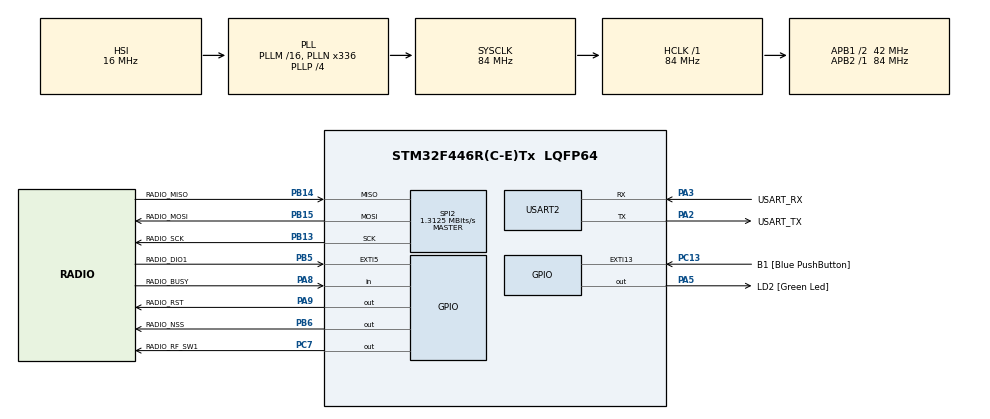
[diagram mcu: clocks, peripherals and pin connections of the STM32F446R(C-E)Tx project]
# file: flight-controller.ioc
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Mcu.Family=STM32F4
Mcu.Name=STM32F446R(C-E)Tx
Mcu.Package=LQFP64
NVIC.EXTI9_5_IRQn=true\:0\:0\:false\:false\:true\:true\:true\:true
NVIC.PriorityGroup=NVIC_PRIORITYGROUP_0
PA13.GPIO_Label=TMS
PA13.Signal=SYS_JTMS-SWDIO
PA14.GPIO_Label=TCK
PA14.Signal=SYS_JTCK-SWCLK
PA2.GPIO_Label=USART_TX
PA2.Mode=Asynchronous
PA2.Signal=USART2_TX
PA3.GPIO_Label=USART_RX
PA3.Mode=Asynchronous
PA3.Signal=USART2_RX
PA5.GPIO_Label=LD2 [Green Led]
PA5.Signal=GPIO_Output
PA8.GPIO_Label=RADIO_BUSY
PA8.GPIO_PuPd=GPIO_PULLUP
PA8.Signal=GPIO_Input
PA9.GPIO_Label=RADIO_RST
PA9.PinState=GPIO_PIN_SET
PA9.Signal=GPIO_Output
PB13.GPIO_Label=RADIO_SCK
PB13.Mode=Full_Duplex_Master
PB13.Signal=SPI2_SCK
PB14.GPIO_Label=RADIO_MISO
PB14.Mode=Full_Duplex_Master
PB14.Signal=SPI2_MISO
PB15.GPIO_Label=RADIO_MOSI
PB15.Mode=Full_Duplex_Master
PB15.Signal=SPI2_MOSI
PB3.GPIO_Label=SWO
PB3.Signal=SYS_JTDO-SWO
PB5.GPIO_Label=RADIO_DIO1
PB5.GPIO_PuPd=GPIO_PULLDOWN
PB5.Signal=GPXTI5
PB6.GPIO_Label=RADIO_NSS
PB6.PinState=GPIO_PIN_SET
PB6.Signal=GPIO_Output
PC13.GPIO_Label=B1 [Blue PushButton]
PC13.GPIO_ModeDefaultEXTI=GPIO_MODE_IT_FALLING
PC13.Signal=GPXTI13
PC14-OSC32_IN.Signal=RCC_OSC32_IN
PC15-OSC32_OUT.Signal=RCC_OSC32_OUT
PC7.GPIO_Label=RADIO_RF_SW1
PC7.Signal=GPIO_Output
PH0-OSC_IN.Signal=RCC_OSC_IN
PH1-OSC_OUT.Signal=RCC_OSC_OUT
ProjectManager.HeapSize=0x200
ProjectManager.StackSize=0x400
ProjectManager.TargetToolchain=CMake
RCC.AHBFreq_Value=84000000
RCC.APB1CLKDivider=RCC_HCLK_DIV2
RCC.APB1Freq_Value=42000000
RCC.APB1TimFreq_Value=84000000
RCC.APB2Freq_Value=84000000
RCC.APB2TimFreq_Value=84000000
RCC.CortexFreq_Value=84000000
RCC.FLatency-AdvancedSettings=FLASH_LATENCY_2
RCC.HCLKFreq_Value=84000000
RCC.HSE_VALUE=8000000
RCC.HSI_VALUE=16000000
RCC.LSE_VALUE=32768
RCC.PLLN=336
RCC.PLLP=RCC_PLLP_DIV4
RCC.SYSCLKFreq_VALUE=84000000
RCC.SYSCLKSource=RCC_SYSCLKSOURCE_PLLCLK
RCC.USBFreq_Value=168000000
RCC.VCOOutputFreq_Value=336000000
SPI2.BaudRatePrescaler=SPI_BAUDRATEPRESCALER_32
SPI2.CalculateBaudRate=1.3125 MBits/s
SPI2.Direction=SPI_DIRECTION_2LINES
SPI2.Mode=SPI_MODE_MASTER
SPI2.VirtualType=VM_MASTER
USART2.VirtualMode=VM_ASYNC
board=NUCLEO-F446RE

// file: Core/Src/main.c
/* USER CODE BEGIN Header */
/**
  ******************************************************************************
  * @file           : main.c
  * @brief          : Main program body
  ******************************************************************************
  * @attention
  *
  * Copyright (c) 2026 STMicroelectronics.
  * All rights reserved.
  *
  * This software is licensed under terms that can be found in the LICENSE file
  * in the root directory of this software component.
  * If no LICENSE file comes with this software, it is provided AS-IS.
  *
  ******************************************************************************
  */
/* USER CODE END Header */
#include "main.h"
/* USER CODE BEGIN Includes */
#include <stdio.h>
#include "radio.h"
/* USER CODE END Includes */

SPI_HandleTypeDef hspi2;

UART_HandleTypeDef huart2;

void SystemClock_Config(void);
static void MX_GPIO_Init(void);
static void MX_SPI2_Init(void);
static void MX_USART2_UART_Init(void);

/* USER CODE BEGIN 0 */
int __io_putchar(int ch)
{
    HAL_UART_Transmit(&huart2, (uint8_t *)&ch, 1, HAL_MAX_DELAY);
    return ch;
}
/* USER CODE END 0 */

int main(void)
{

  /* MCU Configuration--------------------------------------------------------*/

  /* Reset of all peripherals, Initializes the Flash interface and the Systick. */
  HAL_Init();

  /* Configure the system clock */
  SystemClock_Config();

  /* Initialize all configured peripherals */
  MX_GPIO_Init();
  MX_SPI2_Init();
  MX_USART2_UART_Init();
  /* USER CODE BEGIN 2 */
  if (radio_init() != 0)
  {
    printf("Radio init FAILED\r\n");
    return 1;
  }
  else
  {
    printf("Radio init OK\r\n");
  }
  uint32_t count = 0;
  /* USER CODE END 2 */

  /* Infinite loop */
  while (1)
  {
    /* USER CODE BEGIN 3 */
    /* TODO: Send a test packet once per loop.
     * - Build a short payload that changes each time, e.g. a counter:
     *     char msg[32];
     *     int n = snprintf(msg, sizeof msg, "hello %lu", count++);
     *   A changing payload lets a receiver tell packets apart and spot drops.
     * - Call radio_transmit((const uint8_t *)msg, n) and print OK/FAILED.
     *   Only transmit if radio_init succeeded.
     * - Airtime: ~20 bytes at SF9/125 kHz takes ~0.2 s, so once per second
     *   is ~20% of the time on air. That's fine in the US, but over the EU's
     *   1% duty-cycle limit at 868 MHz.
     * - No receiver yet? TX_DONE means the chip sent the packet, but not that
     *   it got through. To see the signal, an RTL-SDR dongle with GQRX/SDR#
     *   tuned to 915 MHz shows each packet as a burst of chirps. */
    char msg[32];
    int n = snprintf(msg, sizeof(msg), "count: %lu", count);
    count++;
    if (radio_transmit((const uint8_t *)msg, (uint8_t)n) == 0)
      printf("TX OK: %s\r\n", msg);
    else
      printf("TX FAILED\r\n");
    radio_print_status();
    HAL_Delay(1000);
  }
  /* USER CODE END 3 */
}

void SystemClock_Config(void)
{
  RCC_OscInitTypeDef RCC_OscInitStruct = {0};
  RCC_ClkInitTypeDef RCC_ClkInitStruct = {0};

  /** Configure the main internal regulator output voltage
  */
  __HAL_RCC_PWR_CLK_ENABLE();
  __HAL_PWR_VOLTAGESCALING_CONFIG(PWR_REGULATOR_VOLTAGE_SCALE3);

  /** Initializes the RCC Oscillators according to the specified parameters
  * in the RCC_OscInitTypeDef structure.
  */
  RCC_OscInitStruct.OscillatorType = RCC_OSCILLATORTYPE_HSI;
  RCC_OscInitStruct.HSIState = RCC_HSI_ON;
  RCC_OscInitStruct.HSICalibrationValue = RCC_HSICALIBRATION_DEFAULT;
  RCC_OscInitStruct.PLL.PLLState = RCC_PLL_ON;
  RCC_OscInitStruct.PLL.PLLSource = RCC_PLLSOURCE_HSI;
  RCC_OscInitStruct.PLL.PLLM = 16;
  RCC_OscInitStruct.PLL.PLLN = 336;
  RCC_OscInitStruct.PLL.PLLP = RCC_PLLP_DIV4;
  RCC_OscInitStruct.PLL.PLLQ = 2;
  RCC_OscInitStruct.PLL.PLLR = 2;
  if (HAL_RCC_OscConfig(&RCC_OscInitStruct) != HAL_OK)
  {
    Error_Handler();
  }

  /** Initializes the CPU, AHB and APB buses clocks
  */
  RCC_ClkInitStruct.ClockType = RCC_CLOCKTYPE_HCLK|RCC_CLOCKTYPE_SYSCLK
                              |RCC_CLOCKTYPE_PCLK1|RCC_CLOCKTYPE_PCLK2;
  RCC_ClkInitStruct.SYSCLKSource = RCC_SYSCLKSOURCE_PLLCLK;
  RCC_ClkInitStruct.AHBCLKDivider = RCC_SYSCLK_DIV1;
  RCC_ClkInitStruct.APB1CLKDivider = RCC_HCLK_DIV2;
  RCC_ClkInitStruct.APB2CLKDivider = RCC_HCLK_DIV1;

  if (HAL_RCC_ClockConfig(&RCC_ClkInitStruct, FLASH_LATENCY_2) != HAL_OK)
  {
    Error_Handler();
  }
}

static void MX_SPI2_Init(void)
{

  /* SPI2 parameter configuration*/
  hspi2.Instance = SPI2;
  hspi2.Init.Mode = SPI_MODE_MASTER;
  hspi2.Init.Direction = SPI_DIRECTION_2LINES;
  hspi2.Init.DataSize = SPI_DATASIZE_8BIT;
  hspi2.Init.CLKPolarity = SPI_POLARITY_LOW;
  hspi2.Init.CLKPhase = SPI_PHASE_1EDGE;
  hspi2.Init.NSS = SPI_NSS_SOFT;
  hspi2.Init.BaudRatePrescaler = SPI_BAUDRATEPRESCALER_32;
  hspi2.Init.FirstBit = SPI_FIRSTBIT_MSB;
  hspi2.Init.TIMode = SPI_TIMODE_DISABLE;
  hspi2.Init.CRCCalculation = SPI_CRCCALCULATION_DISABLE;
  hspi2.Init.CRCPolynomial = 10;
  if (HAL_SPI_Init(&hspi2) != HAL_OK)
  {
    Error_Handler();
  }

}

static void MX_USART2_UART_Init(void)
{

  huart2.Instance = USART2;
  huart2.Init.BaudRate = 115200;
  huart2.Init.WordLength = UART_WORDLENGTH_8B;
  huart2.Init.StopBits = UART_STOPBITS_1;
  huart2.Init.Parity = UART_PARITY_NONE;
  huart2.Init.Mode = UART_MODE_TX_RX;
  huart2.Init.HwFlowCtl = UART_HWCONTROL_NONE;
  huart2.Init.OverSampling = UART_OVERSAMPLING_16;
  if (HAL_UART_Init(&huart2) != HAL_OK)
  {
    Error_Handler();
  }

}

static void MX_GPIO_Init(void)
{
  GPIO_InitTypeDef GPIO_InitStruct = {0};

  /* GPIO Ports Clock Enable */
  __HAL_RCC_GPIOC_CLK_ENABLE();
  __HAL_RCC_GPIOH_CLK_ENABLE();
  __HAL_RCC_GPIOA_CLK_ENABLE();
  __HAL_RCC_GPIOB_CLK_ENABLE();

  /*Configure GPIO pin Output Level */
  HAL_GPIO_WritePin(LD2_GPIO_Port, LD2_Pin, GPIO_PIN_RESET);

  /*Configure GPIO pin Output Level */
  HAL_GPIO_WritePin(RADIO_RF_SW1_GPIO_Port, RADIO_RF_SW1_Pin, GPIO_PIN_RESET);

  /*Configure GPIO pin Output Level */
  HAL_GPIO_WritePin(RADIO_RST_GPIO_Port, RADIO_RST_Pin, GPIO_PIN_SET);

  /*Configure GPIO pin Output Level */
  HAL_GPIO_WritePin(RADIO_NSS_GPIO_Port, RADIO_NSS_Pin, GPIO_PIN_SET);

  /*Configure GPIO pin : B1_Pin */
  GPIO_InitStruct.Pin = B1_Pin;
  GPIO_InitStruct.Mode = GPIO_MODE_IT_FALLING;
  GPIO_InitStruct.Pull = GPIO_NOPULL;
  HAL_GPIO_Init(B1_GPIO_Port, &GPIO_InitStruct);

  /*Configure GPIO pins : LD2_Pin RADIO_RST_Pin */
  GPIO_InitStruct.Pin = LD2_Pin|RADIO_RST_Pin;
  GPIO_InitStruct.Mode = GPIO_MODE_OUTPUT_PP;
  GPIO_InitStruct.Pull = GPIO_NOPULL;
  GPIO_InitStruct.Speed = GPIO_SPEED_FREQ_LOW;
  HAL_GPIO_Init(GPIOA, &GPIO_InitStruct);

  /*Configure GPIO pin : RADIO_RF_SW1_Pin */
  GPIO_InitStruct.Pin = RADIO_RF_SW1_Pin;
  GPIO_InitStruct.Mode = GPIO_MODE_OUTPUT_PP;
  GPIO_InitStruct.Pull = GPIO_NOPULL;
  GPIO_InitStruct.Speed = GPIO_SPEED_FREQ_LOW;
  HAL_GPIO_Init(RADIO_RF_SW1_GPIO_Port, &GPIO_InitStruct);

  /*Configure GPIO pin : RADIO_BUSY_Pin */
  GPIO_InitStruct.Pin = RADIO_BUSY_Pin;
  GPIO_InitStruct.Mode = GPIO_MODE_INPUT;
  GPIO_InitStruct.Pull = GPIO_PULLUP;
  HAL_GPIO_Init(RADIO_BUSY_GPIO_Port, &GPIO_InitStruct);

  /*Configure GPIO pin : RADIO_DIO1_Pin */
  GPIO_InitStruct.Pin = RADIO_DIO1_Pin;
  GPIO_InitStruct.Mode = GPIO_MODE_IT_RISING;
  GPIO_InitStruct.Pull = GPIO_PULLDOWN;
  HAL_GPIO_Init(RADIO_DIO1_GPIO_Port, &GPIO_InitStruct);

  /*Configure GPIO pin : RADIO_NSS_Pin */
  GPIO_InitStruct.Pin = RADIO_NSS_Pin;
  GPIO_InitStruct.Mode = GPIO_MODE_OUTPUT_PP;
  GPIO_InitStruct.Pull = GPIO_NOPULL;
  GPIO_InitStruct.Speed = GPIO_SPEED_FREQ_LOW;
  HAL_GPIO_Init(RADIO_NSS_GPIO_Port, &GPIO_InitStruct);

  /* EXTI interrupt init*/
  HAL_NVIC_SetPriority(EXTI9_5_IRQn, 0, 0);
  HAL_NVIC_EnableIRQ(EXTI9_5_IRQn);

}

void Error_Handler(void)
{
  __disable_irq();
  while (1)
  {
  }
}
